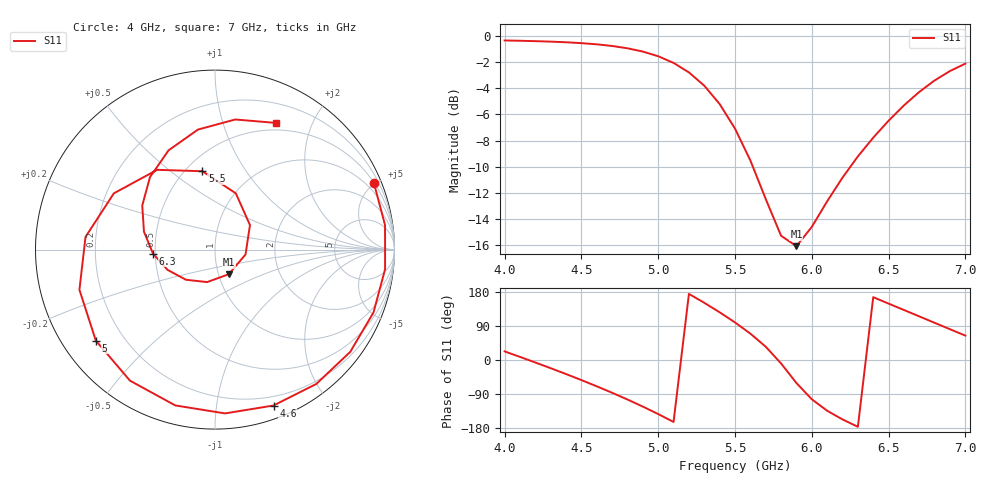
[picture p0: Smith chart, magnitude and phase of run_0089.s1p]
! Touchstone file exported from HFSS 2024.2.0
!  File:  C:/Users/wsak9/Desktop/Sim Fast/Widenad Patch/WP_AI_V1_sweep.aedt
!  Generated:  06:37:54 PM Oct 13, 2026
!  Design:  A1_model
!  Project:  WP_AI_V1_sweep
!  Setup:  Setup1
!  Solution:  Sweep
! Variables:
!  Air_gap = 3.68mm
!  Curve_Amp1 = 0.84
!  Curve_len1 = 1
!  Curve_pos = 10.375mm
!  Extra = 4.43mm
!  H_sub = 0.79mm
!  L_Patch = 16.75mm
!  L_Patch1 = 12.89mm
!  Sx = 3.06mm
!  Sy = 1.9mm
!  WS = 1.46mm
!  W_Patch = 15.07mm
!  W_Patch1 = 8.46mm
!Data is not renormalized
# GHz S MA
! Terminal data exported
! Port[1] = 1
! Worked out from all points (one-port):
!   31 points, 4 GHz to 7 GHz, reference per port
!   lowest |S11| = -16.1 dB at 5.9 GHz (marker M1), VSWR 1.37
!   |S11| at or under -10 dB: 5.616 GHz to 6.251 GHz (635.3 MHz wide, 10.7 % of centre)
!   S11 on the Smith chart (normalised r, x): 4 GHz: 0.52, +4.93; 4.6 GHz: 0.12, -1.44; 5 GHz: 0.10, -0.34; 5.5 GHz: 0.60, +0.65; 6.3 GHz: 0.49, -0.02; 7 GHz: 0.41, +1.51
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4  0.9598 22.7
4.1  0.9572 8.2
4.2  0.954 -6.6
4.3  0.95 -21.6
4.4  0.9447 -37.1
4.5  0.9375 -53.0
4.6  0.9278 -69.4
4.7  0.9144 -86.5
4.8  0.8959 -104.3
4.9  0.8704 -123.0
5  0.8354 -142.6
5.1  0.7878 -163.5
5.2  0.7249 174.4
5.3  0.6448 150.9
5.4  0.5488 125.9
5.5  0.4421 99.1
5.6  0.3341 69.6
5.7  0.238 35.1
5.8  0.1722 -9.1
5.9  0.1572 -60.7
6.1  0.2332 -133.9
6.3  0.3462 -176.3
6.5  0.4739 148.8
6.6  0.5423 131.9
6.7  0.6106 115.0
6.8  0.6755 98.1
6.9  0.7336 81.1
7  0.783 64.4
